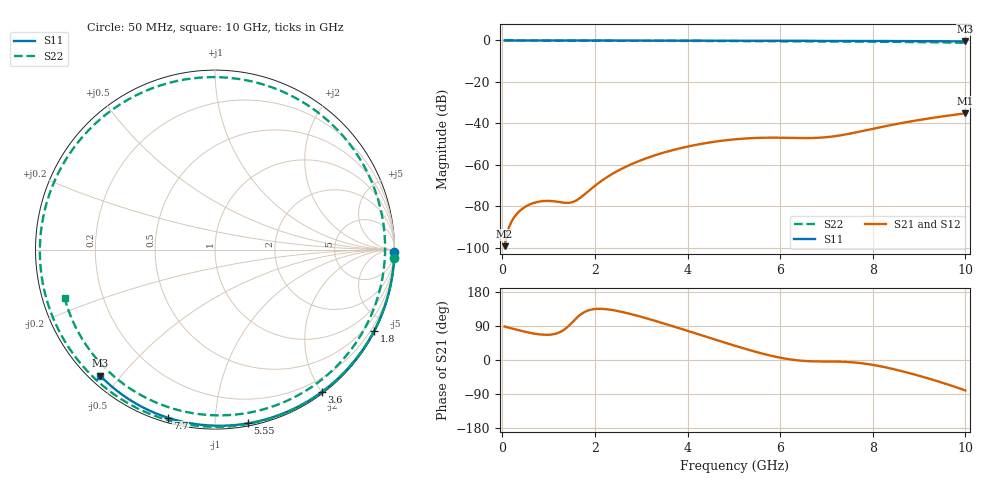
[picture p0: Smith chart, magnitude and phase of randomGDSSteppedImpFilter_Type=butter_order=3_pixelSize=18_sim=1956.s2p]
! freq	dB(S11)	phase(S11)	dB(S12)	phase(S12)
!  dB(S21)	phase(S21)	dB(S22)	phase(S22)
!S-par simulation data
#  GHz  S  DB  R 50
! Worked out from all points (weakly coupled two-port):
!   200 points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, 50 MHz to 10 GHz, reference 50 ohm
!   highest |S21| = -35.20 dB at 10 GHz (marker M1); lowest = -99.4 dB at 50 MHz (marker M2)
!   lowest |S11| = -0.4 dB at 10 GHz (marker M3), VSWR 38.82, Z = 1.54 - j22.1 ohm
!   |S11| at or under -10 dB: nowhere
!   |S22| runs from -1.1 to 0.0 dB; largest |S21 - S12| = 0
!   S11 on the Smith chart (normalised r, x): 50 MHz: open; 1.8 GHz: 0.04, -4.14; 3.6 GHz: 0.02, -2.00; 5.55 GHz: 0.02, -1.21; 7.7 GHz: 0.02, -0.76; 10 GHz: 0.03, -0.44
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0.05  -0.00 -0.8  -99.36 88.4  -99.36 88.4  -0.00 -2.6
0.5  -0.01 -7.6  -80.29 74.3  -80.29 74.3  -0.04 -26.0
0.95  -0.02 -14.4  -77.49 66.5  -77.49 66.5  -0.06 -48.9
1.45  -0.03 -22.0  -78.41 91.9  -78.41 91.9  -0.09 -73.7
1.75  -0.03 -26.4  -74.83 124.8  -74.83 124.8  -0.11 -88.1
1.8  -0.03 -27.2  -73.89 128.0  -73.89 128.0  -0.11 -90.5
2.55  -0.05 -38.1  -62.31 127.8  -62.31 127.8  -0.15 -125.5
3  -0.06 -44.6  -57.81 113.9  -57.81 113.9  -0.17 -146.1
3.4  -0.07 -50.3  -54.73 99.7  -54.73 99.7  -0.19 -164.6
3.6  -0.07 -53.1  -53.44 92.3  -53.44 92.3  -0.20 -174.1
4.3  -0.09 -62.7  -49.93 65.4  -49.93 65.4  -0.25 151.6
5.05  -0.11 -72.7  -47.69 36.6  -47.69 36.6  -0.31 111.3
5.55  -0.13 -79.2  -47.04 19.0  -47.04 19.0  -0.36 82.1
6.05  -0.15 -85.6  -46.99 5.0  -46.99 5.0  -0.40 51.4
6.4  -0.17 -90.0  -47.13 -1.2  -47.13 -1.2  -0.42 29.6
6.7  -0.18 -93.7  -47.11 -3.5  -47.11 -3.5  -0.45 11.1
7.15  -0.21 -99.2  -46.33 -4.1  -46.33 -4.1  -0.49 -15.9
7.7  -0.24 -105.8  -44.12 -7.7  -44.12 -7.7  -0.55 -46.8
8.35  -0.29 -113.4  -41.05 -21.3  -41.05 -21.3  -0.66 -80.4
8.75  -0.32 -118.0  -39.37 -33.3  -39.37 -33.3  -0.74 -99.9
9.15  -0.36 -122.6  -37.88 -46.9  -37.88 -46.9  -0.83 -119.1
10  -0.45 -132.3  -35.20 -80.4  -35.20 -80.4  -1.11 -162.0
